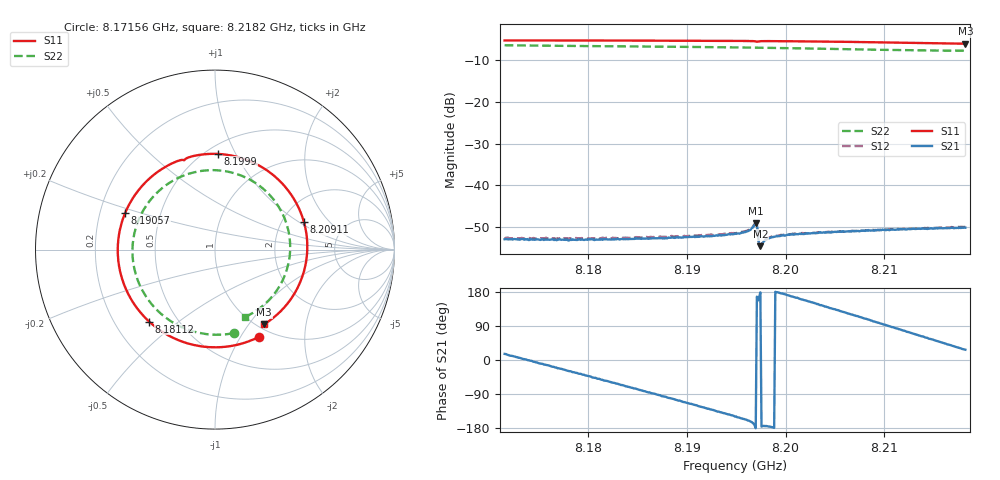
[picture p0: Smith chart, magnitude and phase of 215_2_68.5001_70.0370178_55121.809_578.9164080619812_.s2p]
#  HZ  S  RI  R  50.00
! Rohde & Schwarz Vector Network Analyzer
! Rohde-Schwarz,ZNB20-2Port,1311601062101988,3.16
! Created: UTC 3/20/2024, 4:58:12 PM
! freq[Hz]  re:S11  im:S11  re:S21  im:S21  re:S12  im:S12  re:S22  im:S22
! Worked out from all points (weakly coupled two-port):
!   401 points, 8.17156 GHz to 8.2182 GHz, reference 50 ohm
!   highest |S21| = -49.04 dB at 8.19698 GHz (marker M1); lowest = -54.5 dB at 8.19745 GHz (marker M2)
!   lowest |S11| = -6.1 dB at 8.2182 GHz (marker M3), VSWR 2.98, Z = 53.7 - j59.4 ohm
!   |S11| at or under -10 dB: nowhere
!   |S22| runs from -7.7 to -6.4 dB; largest |S21 - S12| = 0.00019
!   S11 on the Smith chart (normalised r, x): 8.17156 GHz: 0.87, -1.21; 8.18112 GHz: 0.35, -0.40; 8.19057 GHz: 0.31, +0.18; 8.1999 GHz: 0.57, +0.85; 8.20911 GHz: 2.63, +1.10; 8.2182 GHz: 1.07, -1.19
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8.171562e9  0.2447 -0.4863  0.00218 0.000629  0.00222 0.000656  0.1034 -0.4656
8.175526e9  -0.017 -0.5442  0.00218 -0.000452  0.0023 -0.000449  -0.1211 -0.4559
8.179374e9  -0.2693 -0.4727  0.00179 -0.00139  0.00183 -0.00147  -0.3091 -0.3503
8.181123e9  -0.3667 -0.4015  0.00146 -0.00172  0.00146 -0.00178  -0.3738 -0.2769
8.184271e9  -0.4938 -0.2254  0.000703 -0.00218  0.000711 -0.00226  -0.4467 -0.1183
8.187186e9  -0.5412 -0.029  -0.000107 -0.00235  -0.000149 -0.00241  -0.4572 0.0424
8.190568e9  -0.5014 0.2023  -0.00109 -0.00217  -0.00122 -0.00221  -0.3987 0.2198
8.192667e9  -0.4274 0.3291  -0.00167 -0.00186  -0.00175 -0.00184  -0.3279 0.3121
8.194882e9  -0.3146 0.4364  -0.00228 -0.00135  -0.00231 -0.00132  -0.2294 0.3867
8.196165e9  -0.2357 0.482  -0.00266 -0.000988  -0.00274 -0.000902  -0.164 0.4166
8.196864e9  -0.1868 0.4994  -0.00333 -0.000465  -0.00345 -0.000331  -0.1265 0.4282
8.196981e9  -0.1779 0.4997  -0.00353 -5.31e-06  -0.0036 0.00012  -0.1201 0.4298
8.197447e9  -0.157 0.5096  -0.00188 5.15e-05  -0.00192 0.00015  -0.0946 0.4353
8.197564e9  -0.1487 0.5132  -0.00196 -0.000143  -0.00196 -6.97e-05  -0.088 0.4365
8.198497e9  -0.0823 0.5284  -0.00238 -0.000148  -0.00241 -4.85e-05  -0.0358 0.4422
8.199896e9  0.0167 0.533  -0.00248 0.000279  -0.00255 0.000392  0.0437 0.439
8.202694e9  0.2082 0.4872  -0.00238 0.00126  -0.00232 0.00136  0.1952 0.3896
8.206076e9  0.397 0.3427  -0.00161 0.00229  -0.00156 0.00239  0.3407 0.2598
8.209107e9  0.4958 0.1524  -0.000523 0.00287  -0.000451 0.0029  0.4112 0.0951
8.210506e9  0.5129 0.054  4.35e-05 0.00292  0.000113 0.00299  0.419 0.0108
8.214121e9  0.4671 -0.1985  0.00154 0.00262  0.00162 0.00265  0.3604 -0.202
8.218202e9  0.274 -0.4156  0.00278 0.00142  0.00289 0.00132  0.1695 -0.3741
